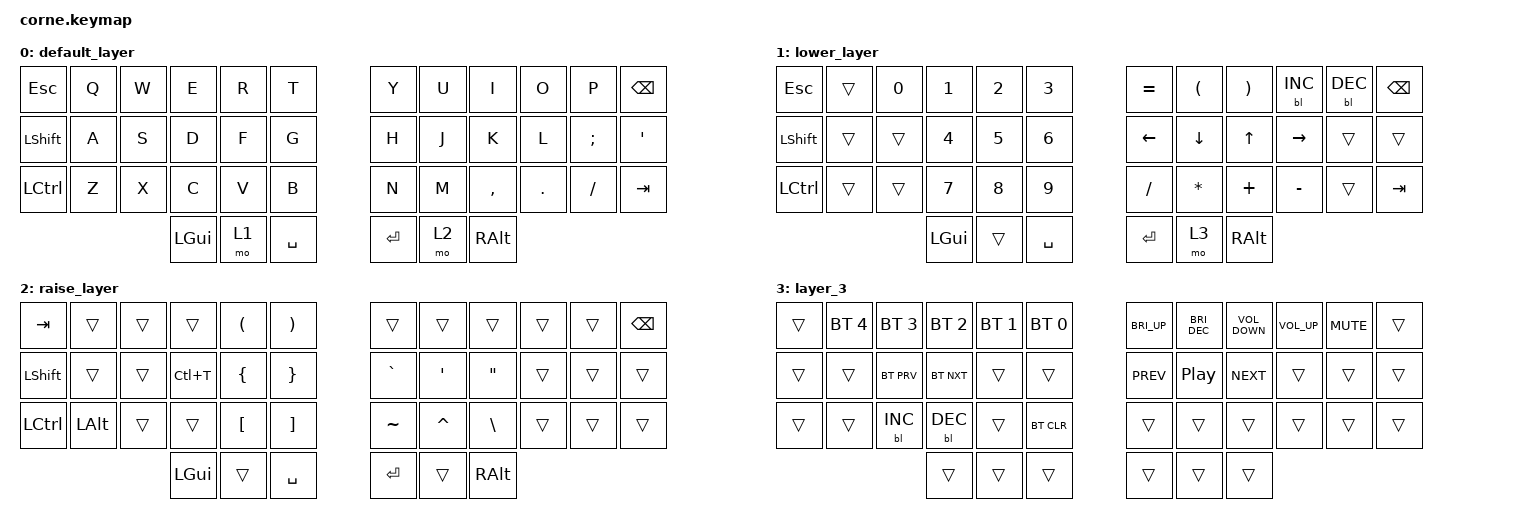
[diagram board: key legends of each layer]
/*
 * Copyright (c) 2020 The ZMK Contributors
 *
 * SPDX-License-Identifier: MIT
 */

#include <behaviors.dtsi>
#include <dt-bindings/zmk/backlight.h>
#include <dt-bindings/zmk/bt.h>
#include <dt-bindings/zmk/keys.h>

/ {
    keymap {
        compatible = "zmk,keymap";

        default_layer {
            // -----------------------------------------------------------------------------------------
            // |  TAB |  Q  |  W  |  E  |  R  |  T  |   |  Y  |  U   |  I  |  O  |  P  | BSPC |
            // | CTRL |  A  |  S  |  D  |  F  |  G  |   |  H  |  J   |  K  |  L  |  ;  |  '   |
            // | SHFT |  Z  |  X  |  C  |  V  |  B  |   |  N  |  M   |  ,  |  .  |  /  | ESC  |
            //                    | GUI | LWR | SPC |   | ENT | RSE  | ALT |

            bindings = <
&kp ESC           &kp Q  &kp W  &kp E     &kp R  &kp T        &kp Y    &kp U  &kp I      &kp O    &kp P     &kp BSPC
&kp LEFT_SHIFT    &kp A  &kp S  &kp D     &kp F  &kp G        &kp H    &kp J  &kp K      &kp L    &kp SEMI  &kp SQT
&kp LEFT_CONTROL  &kp Z  &kp X  &kp C     &kp V  &kp B        &kp N    &kp M  &kp COMMA  &kp DOT  &kp FSLH  &kp TAB
                                &kp LGUI  &mo 1  &kp SPACE    &kp RET  &mo 2  &kp RALT
            >;
        };

        lower_layer {
            // -----------------------------------------------------------------------------------------
            // |  TAB |  1  |  2  |  3  |  4  |  5  |   |  6  |  7  |  8  |  9  |  0  | BSPC |
            // | BTCLR| BT1 | BT2 | BT3 | BT4 | BT5 |   | LFT | DWN |  UP | RGT |     |      |
            // | SHFT |     |     |     |     |     |   |     |     |     |     |     |      |
            //                    | GUI |     | SPC |   | ENT |     | ALT |

            bindings = <
&kp ESC           &trans  &kp NUMBER_0  &kp NUMBER_1  &kp NUMBER_2  &kp NUMBER_3    &kp EQUAL  &kp LEFT_PARENTHESIS  &kp RIGHT_PARENTHESIS  &bl BL_INC  &bl BL_DEC  &kp BSPC
&kp LEFT_SHIFT    &trans  &trans        &kp NUMBER_4  &kp NUMBER_5  &kp NUMBER_6    &kp LEFT   &kp DOWN              &kp UP                 &kp RIGHT   &trans      &trans
&kp LEFT_CONTROL  &trans  &trans        &kp NUMBER_7  &kp NUMBER_8  &kp NUMBER_9    &kp SLASH  &kp ASTERISK          &kp PLUS               &kp MINUS   &trans      &kp TAB
                                        &kp LGUI      &trans        &kp SPACE       &kp RET    &mo 3                 &kp RALT
            >;
        };

        raise_layer {
            // -----------------------------------------------------------------------------------------
            // |  TAB |  !  |  @  |  #  |  $  |  %  |   |  ^  |  &  |  *  |  (  |  )  | BSPC |
            // | CTRL |     |     |     |     |     |   |  -  |  =  |  [  |  ]  |  \  |  `   |
            // | SHFT |     |     |     |     |     |   |  _  |  +  |  {  |  }  | "|" |  ~   |
            //                    | GUI |     | SPC |   | ENT |     | ALT |

            bindings = <
&kp TAB           &trans        &trans  &trans     &kp LEFT_PARENTHESIS  &kp RIGHT_PARENTHESIS    &trans     &trans     &trans             &trans  &trans  &kp BSPC
&kp LEFT_SHIFT    &trans        &trans  &kp LC(T)  &kp LEFT_BRACE        &kp RIGHT_BRACE          &kp GRAVE  &kp SQT    &kp DOUBLE_QUOTES  &trans  &trans  &trans
&kp LEFT_CONTROL  &kp LEFT_ALT  &trans  &trans     &kp LEFT_BRACKET      &kp RIGHT_BRACKET        &kp TILDE  &kp CARET  &kp BACKSLASH      &trans  &trans  &trans
                                        &kp LGUI   &trans                &kp SPACE                &kp RET    &trans     &kp RALT
            >;
        };

        layer_3 {
            bindings = <
&trans  &bt BT_SEL 4  &bt BT_SEL 3  &bt BT_SEL 2  &bt BT_SEL 1  &bt BT_SEL 0    &kp C_BRI_UP  &kp C_BRI_DEC     &kp C_VOLUME_DOWN  &kp C_VOLUME_UP  &kp K_MUTE  &trans
&trans  &trans        &bt BT_PRV    &bt BT_NXT    &trans        &trans          &kp C_PREV    &kp C_PLAY_PAUSE  &kp C_NEXT         &trans           &trans      &trans
&trans  &trans        &bl BL_INC    &bl BL_DEC    &trans        &bt BT_CLR      &trans        &trans            &trans             &trans           &trans      &trans
                                    &trans        &trans        &trans          &trans        &trans            &trans
            >;
        };
    };
};
